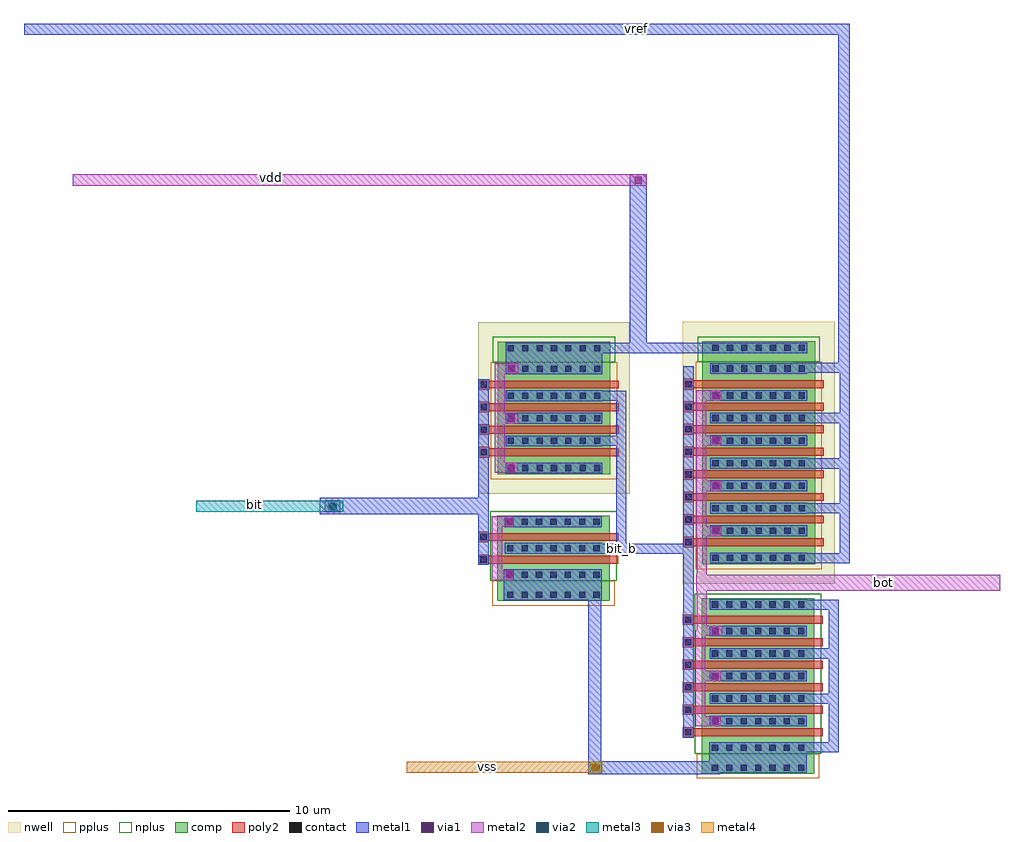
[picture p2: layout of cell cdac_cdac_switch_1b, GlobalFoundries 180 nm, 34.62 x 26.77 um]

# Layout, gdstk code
from math import pi, radians
import gdstk
lib = gdstk.Library(unit=1e-6, precision=5e-09)
def R(c, l, rs):  # rectangles x0, y0, x1, y1
    for r in rs: c.add(gdstk.rectangle(r[:2], r[2:], *l))
def A(c, l, x, y, w, h, nx, ny, dx, dy):  # array of equal rectangles
    R(c, l, [(x+i*dx, y+j*dy, x+i*dx+w, y+j*dy+h) for i in range(nx) for j in range(ny)])
nwell = (21, 0)
comp = (22, 0)
poly2 = (30, 0)
pplus = (31, 0)
nplus = (32, 0)
contact = (33, 0)
metal1 = (34, 0)
via1 = (35, 0)
metal2 = (36, 0)
via2 = (38, 0)
via3 = (40, 0)
metal3 = (42, 0)
metal4 = (46, 0)

cdac_pfet = lib.new_cell('cdac_pfet')
R(cdac_pfet, nwell, [(-1.15,-0.69,4.94,4.69)])
R(cdac_pfet, comp, [(-0.46,0,0,4), (0,0,3.06,4), (3.06,0,3.52,4), (3.52,0,4.25,4)])
A(cdac_pfet, poly2, 0.19, -0.3, 0.28, 4.6, 4, 1, 0.8, 0)
A(cdac_pfet, poly2, 0.14, 4.3, 0.38, 0.38, 4, 1, 0.8, 0)
R(cdac_pfet, pplus, [(-0.63,-0.24,3.52,4.24)])
R(cdac_pfet, nplus, [(3.52,-0.17,4.42,4.17)])
A(cdac_pfet, contact, -0.34, 0.36, 0.22, 0.22, 1, 7, 0, 0.51)
A(cdac_pfet, contact, 0.62, 0.36, 0.22, 0.22, 3, 7, 0.8, 0.51)
A(cdac_pfet, contact, 3.18, 0.36, 0.22, 0.22, 1, 7, 0, 0.51)
A(cdac_pfet, contact, 3.91, 0.36, 0.22, 0.22, 1, 7, 0, 0.51)
A(cdac_pfet, contact, 0.22, 4.38, 0.22, 0.22, 4, 1, 0.8, 0)
A(cdac_pfet, metal1, 0.54, 0.28, 0.38, 3.44, 3, 1, 0.8, 0)
A(cdac_pfet, metal1, 0.14, 4.3, 0.38, 0.38, 4, 1, 0.8, 0)
R(cdac_pfet, metal1, [(-0.42,0.28,-0.04,3.72), (3.1,0.28,3.48,3.72), (3.83,0.28,4.21,3.72)])

cdac_nfet = lib.new_cell('cdac_nfet')
R(cdac_nfet, comp, [(-0.42,0,0,4), (0,0,1.46,4), (1.46,0,1.88,4), (1.88,0,2.59,4)])
R(cdac_nfet, poly2, [(0.15,-0.66,0.51,-0.3), (0.95,-0.66,1.31,-0.3), (0.19,-0.3,0.47,4.3), (0.99,-0.3,1.27,4.3)])
R(cdac_nfet, pplus, [(1.88,-0.17,2.76,4.17)])
R(cdac_nfet, nplus, [(-0.59,-0.24,1.88,4.24)])
A(cdac_nfet, contact, -0.32, 0.36, 0.22, 0.22, 3, 7, 0.94, 0.51)
A(cdac_nfet, contact, 2.27, 0.36, 0.22, 0.22, 1, 7, 0, 0.51)
R(cdac_nfet, contact, [(0.22,-0.59,0.44,-0.37), (1.02,-0.59,1.24,-0.37)])
A(cdac_nfet, metal1, -0.4, 0.28, 0.38, 3.44, 3, 1, 0.94, 0)
R(cdac_nfet, metal1, [(0.14,-0.67,0.52,-0.29), (0.94,-0.67,1.32,-0.29), (2.19,0.28,2.57,3.72)])

cdac_pfet_3 = lib.new_cell('cdac_pfet$3')
R(cdac_pfet_3, nwell, [(-1.15,-0.69,8.14,4.69)])
R(cdac_pfet_3, comp, [(-0.46,0,0,4), (0,0,6.26,4), (6.26,0,6.72,4), (6.72,0,7.45,4)])
A(cdac_pfet_3, poly2, 0.19, -0.3, 0.28, 4.6, 8, 1, 0.8, 0)
A(cdac_pfet_3, poly2, 0.14, 4.3, 0.38, 0.38, 8, 1, 0.8, 0)
R(cdac_pfet_3, pplus, [(-0.63,-0.24,6.72,4.24)])
R(cdac_pfet_3, nplus, [(6.72,-0.17,7.62,4.17)])
A(cdac_pfet_3, contact, -0.34, 0.36, 0.22, 0.22, 1, 7, 0, 0.51)
A(cdac_pfet_3, contact, 0.62, 0.36, 0.22, 0.22, 7, 7, 0.8, 0.51)
A(cdac_pfet_3, contact, 6.38, 0.36, 0.22, 0.22, 1, 7, 0, 0.51)
A(cdac_pfet_3, contact, 7.11, 0.36, 0.22, 0.22, 1, 7, 0, 0.51)
A(cdac_pfet_3, contact, 0.22, 4.38, 0.22, 0.22, 8, 1, 0.8, 0)
A(cdac_pfet_3, metal1, 0.54, 0.28, 0.38, 3.44, 7, 1, 0.8, 0)
A(cdac_pfet_3, metal1, 0.14, 4.3, 0.38, 0.38, 8, 1, 0.8, 0)
R(cdac_pfet_3, metal1, [(-0.42,0.28,-0.04,3.72), (6.3,0.28,6.68,3.72), (7.03,0.28,7.41,3.72)])

cdac_nfet_3 = lib.new_cell('cdac_nfet$3')
R(cdac_nfet_3, comp, [(-0.42,0,0,4), (0,0,4.66,4), (4.66,0,5.08,4), (5.08,0,5.79,4)])
A(cdac_nfet_3, poly2, 0.15, -0.66, 0.36, 0.36, 6, 1, 0.8, 0)
A(cdac_nfet_3, poly2, 0.19, -0.3, 0.28, 4.6, 6, 1, 0.8, 0)
R(cdac_nfet_3, pplus, [(5.08,-0.17,5.96,4.17)])
R(cdac_nfet_3, nplus, [(-0.59,-0.24,5.08,4.24)])
A(cdac_nfet_3, contact, 0.22, -0.59, 0.22, 0.22, 6, 1, 0.8, 0)
A(cdac_nfet_3, contact, -0.32, 0.36, 0.22, 0.22, 1, 7, 0, 0.51)
A(cdac_nfet_3, contact, 0.62, 0.36, 0.22, 0.22, 5, 7, 0.8, 0.51)
A(cdac_nfet_3, contact, 4.76, 0.36, 0.22, 0.22, 1, 7, 0, 0.51)
A(cdac_nfet_3, contact, 5.47, 0.36, 0.22, 0.22, 1, 7, 0, 0.51)
A(cdac_nfet_3, metal1, 0.14, -0.67, 0.38, 0.38, 6, 1, 0.8, 0)
A(cdac_nfet_3, metal1, 0.54, 0.28, 0.38, 3.44, 5, 1, 0.8, 0)
R(cdac_nfet_3, metal1, [(-0.4,0.28,-0.02,3.72), (4.68,0.28,5.06,3.72), (5.39,0.28,5.77,3.72)])

cdac_cdac_switch_1b = lib.new_cell('cdac_cdac_switch_1b')
R(cdac_cdac_switch_1b, metal1, [(13.82,6.09,17.27,7.18), (12.89,7.34,13.27,20.52), (6.53,12.22,10.01,13.31), (5.625,13.47,6,20.065), (10.51,13.86,13.27,14.23), (0,15.26,6,15.86), (6.59,20.245,10.03,21.355), (9.56,20.97,11.33,21.345), (11,20.97,11.6,27.32), (11.33,20.97,14.25,21.345)])
A(cdac_cdac_switch_1b, via1, 13.93, 14.55, 0.26, 0.26, 1, 4, 0, 1.6)
R(cdac_cdac_switch_1b, via1, [(9.645,6.16,9.905,6.42), (13.9,7.8,14.16,8.06), (13.89,9.39,14.15,9.65), (13.9,11,14.16,11.26), (6.59,12.99,6.85,13.25), (6.59,14.87,6.85,15.13), (0.305,15.425,0.565,15.685), (6.65,16.78,6.91,17.04), (6.66,18.54,6.92,18.8), (6.67,20.31,6.93,20.57), (11.17,26.985,11.43,27.245)])
R(cdac_cdac_switch_1b, metal2, [(9.59,6.09,9.99,6.49), (13.36,12.55,24.13,13.13), (0.17,15.34,0.73,15.77), (-8.76,26.92,11.6,27.32)])
R(cdac_cdac_switch_1b, via2, [(9.665,6.155,9.925,6.415), (0.34,15.405,0.6,15.665)])
R(cdac_cdac_switch_1b, via3, [(9.65,6.165,9.91,6.425)])
R(cdac_cdac_switch_1b, metal3, [(9.58,6.095,10,6.495), (-4.38,15.355,0.83,15.755)])
R(cdac_cdac_switch_1b, metal4, [(3.08,6.095,10.02,6.495)])
cdac_cdac_switch_1b.add(gdstk.FlexPath([(10.69,17.88),(10.69,14.05),(9.6,14.05)], 0.36, ends="flush", simple_path=True, layer=34, datatype=0))  # metal1
cdac_cdac_switch_1b.add(gdstk.FlexPath([(9.6,19.47),(10.69,19.47),(10.69,17.88),(9.6,17.88)], 0.36, ends="flush", simple_path=True, layer=34, datatype=0))  # metal1
cdac_cdac_switch_1b.add(gdstk.FlexPath([(18.23,10.33),(18.23,12.06),(16.9,12.06)], 0.36, ends="flush", simple_path=True, layer=34, datatype=0))  # metal1
cdac_cdac_switch_1b.add(gdstk.FlexPath([(18.23,8.72),(18.23,10.33),(16.9,10.33)], 0.36, ends="flush", simple_path=True, layer=34, datatype=0))  # metal1
cdac_cdac_switch_1b.add(gdstk.FlexPath([(16.9,7),(18.23,7),(18.23,8.72),(16.9,8.72)], 0.36, ends="flush", simple_path=True, layer=34, datatype=0))  # metal1
cdac_cdac_switch_1b.add(gdstk.FlexPath([(14.2,6.28),(9.75,6.28),(9.75,12.6)], 0.46, ends="flush", simple_path=True, layer=34, datatype=0))  # metal1
cdac_cdac_switch_1b.add(gdstk.FlexPath([(18.62,15.48),(18.62,13.71),(16.8,13.71)], 0.36, ends="flush", simple_path=True, layer=34, datatype=0))  # metal1
cdac_cdac_switch_1b.add(gdstk.FlexPath([(18.62,17.07),(18.62,15.48),(16.8,15.48)], 0.36, ends="flush", simple_path=True, layer=34, datatype=0))  # metal1
cdac_cdac_switch_1b.add(gdstk.FlexPath([(18.62,18.68),(18.62,17.07),(16.8,17.07)], 0.36, ends="flush", simple_path=True, layer=34, datatype=0))  # metal1
cdac_cdac_switch_1b.add(gdstk.FlexPath([(16.8,20.46),(18.62,20.46),(18.62,18.68),(16.8,18.68)], 0.36, ends="flush", simple_path=True, layer=34, datatype=0))  # metal1
cdac_cdac_switch_1b.add(gdstk.FlexPath([(18.6,20.28),(18.6,32.47),(-10.49,32.47)], 0.4, ends="flush", simple_path=True, layer=34, datatype=0))  # metal1
cdac_cdac_switch_1b.add(gdstk.FlexPath([(6.89,15.01),(6.29,15.01),(6.29,13.11),(6.89,13.11)], 0.36, ends="flush", simple_path=True, layer=36, datatype=0))  # metal2
cdac_cdac_switch_1b.add(gdstk.FlexPath([(6.38,18.66),(6.38,16.92),(7.03,16.92)], 0.36, ends="flush", simple_path=True, layer=36, datatype=0))  # metal2
cdac_cdac_switch_1b.add(gdstk.FlexPath([(7.05,20.44),(6.38,20.44),(6.38,18.66),(7.04,18.66)], 0.36, ends="flush", simple_path=True, layer=36, datatype=0))  # metal2
cdac_cdac_switch_1b.add(gdstk.FlexPath([(13.5,9.53),(13.5,7.93),(14.22,7.93)], 0.36, ends="flush", simple_path=True, layer=36, datatype=0))  # metal2
cdac_cdac_switch_1b.add(gdstk.FlexPath([(13.5,11.13),(13.5,9.53),(14.22,9.53)], 0.36, ends="flush", simple_path=True, layer=36, datatype=0))  # metal2
cdac_cdac_switch_1b.add(gdstk.FlexPath([(13.55,15.12),(13.55,11.13),(14.27,11.13)], 0.36, ends="flush", simple_path=True, layer=36, datatype=0))  # metal2
cdac_cdac_switch_1b.add(gdstk.FlexPath([(13.53,16.27),(13.53,14.67),(14.25,14.67)], 0.36, ends="flush", simple_path=True, layer=36, datatype=0))  # metal2
cdac_cdac_switch_1b.add(gdstk.FlexPath([(13.53,17.87),(13.53,16.27),(14.25,16.27)], 0.36, ends="flush", simple_path=True, layer=36, datatype=0))  # metal2
cdac_cdac_switch_1b.add(gdstk.FlexPath([(14.25,19.48),(13.53,19.48),(13.53,17.87),(14.25,17.87)], 0.36, ends="flush", simple_path=True, layer=36, datatype=0))  # metal2
cdac_cdac_switch_1b.add(gdstk.Reference(cdac_pfet, (10.31,17.14), rotation=pi/2))
cdac_cdac_switch_1b.add(gdstk.Reference(cdac_nfet, (6.29,14.79), rotation=3*pi/2))
cdac_cdac_switch_1b.add(gdstk.Reference(cdac_pfet_3, (17.57,13.95), rotation=pi/2))
cdac_cdac_switch_1b.add(gdstk.Reference(cdac_nfet_3, (13.55,11.86), rotation=3*pi/2))
cdac_cdac_switch_1b.add(gdstk.Label('bit_b', (10.69,14.05), layer=34, texttype=10))
cdac_cdac_switch_1b.add(gdstk.Label('vref', (11.245,32.485), layer=34, texttype=10))
cdac_cdac_switch_1b.add(gdstk.Label('vss', (5.965,6.335), layer=46, texttype=10))
cdac_cdac_switch_1b.add(gdstk.Label('bot', (19.98,12.86), layer=36, texttype=10))
cdac_cdac_switch_1b.add(gdstk.Label('vdd', (-1.715,27.215), layer=36, texttype=10))
cdac_cdac_switch_1b.add(gdstk.Label('bit', (-2.32,15.61), layer=42, texttype=10))

lib.write_gds('cdac_cdac_switch_1b.gds')
